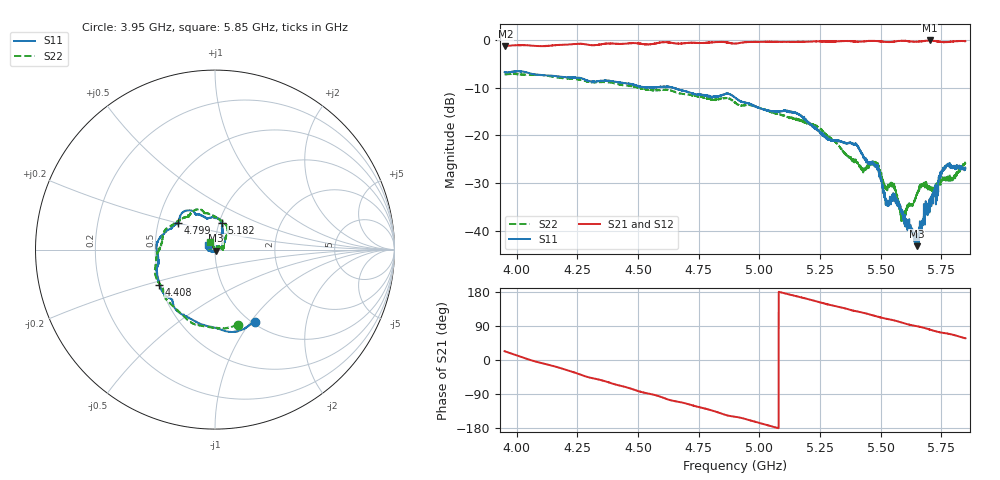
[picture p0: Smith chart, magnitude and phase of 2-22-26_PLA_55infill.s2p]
# GHZ S RI R 50.000000000000
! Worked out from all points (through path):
!   4501 points, 3.95 GHz to 5.85 GHz, reference 50 ohm
!   highest |S21| = -0.06 dB at 5.703 GHz (marker M1); lowest = -1.3 dB at 3.953 GHz (marker M2)
!   lowest |S11| = -43.2 dB at 5.65 GHz (marker M3), VSWR 1.01, Z = 50.3 - j0.606 ohm
!   |S11| at or under -10 dB: 4.643662 GHz to 4.644251 GHz (588.7 kHz wide, 0.0127 % of centre); 4.644876 GHz to 4.647052 GHz (2.177 MHz wide, 0.0468 % of centre); 4.648 GHz to end of sweep
!   |S22| runs from -38.3 to -7.1 dB; largest |S21 - S12| = 0.045
!   S11 on the Smith chart (normalised r, x): 3.95 GHz: 1.02, -1.05; 4.408 GHz: 0.49, -0.22; 4.799 GHz: 0.63, +0.20; 5.182 GHz: 1.03, +0.32; 5.85 GHz: 0.93, +0.04
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3.95  0.2207 -0.4051  0.7947 0.3408  0.786 0.3385  0.127 -0.4217
3.952956  0.2107 -0.4078  0.7965 0.3302  0.7865 0.3337  0.1167 -0.4218
4.053867  0.0386 -0.448  0.8798 0.00643  0.8879 0.0203  -0.0436 -0.4298
4.267089  -0.2197 -0.3317  0.7073 -0.5822  0.721 -0.5727  -0.2765 -0.2663
4.407689  -0.3106 -0.1954  0.3928 -0.8318  0.4079 -0.8165  -0.335 -0.1054
4.583756  -0.3218 -0.0184  -0.0823 -0.9344  -0.0594 -0.928  -0.2927 0.061
4.798667  -0.2076 0.1484  -0.6348 -0.702  -0.6191 -0.711  -0.1567 0.1825
4.9  -0.1263 0.2157  -0.7965 -0.4646  -0.7958 -0.471  -0.0644 0.2119
5.033422  -0.0502 0.1762  -0.9541 -0.1372  -0.9471 -0.1573  0.00167 0.1823
5.182467  0.0378 0.1494  -0.9214 0.2724  -0.9243 0.2525  0.0716 0.1211
5.217089  0.0398 0.1201  -0.8983 0.3642  -0.9027 0.3463  0.0719 0.1108
5.402867  0.0558 0.0564  -0.5962 0.7563  -0.6134 0.7427  0.0498 0.0169
5.486044  0.0426 0.0187  -0.4084 0.8875  -0.4344 0.8808  0.0475 0.00666
5.516867  0.0217 0.013  -0.3229 0.9043  -0.3465 0.9022  0.0273 0.0105
5.533756  0.0115 0.0155  -0.2882 0.9098  -0.3076 0.9084  0.0225 0.0197
5.557822  0.0152 0.0176  -0.241 0.9375  -0.2584 0.929  0.0222 0.019
5.589911  0.0123 0.0094  -0.1425 0.9731  -0.1735 0.9597  0.00254 0.0132
5.649867  0.00338 -0.00602  0.0155 0.9619  -0.0175 0.9666  -0.0217 0.00947
5.671822  -0.00753 -0.0103  0.0655 0.9717  0.0379 0.9712  -0.0286 0.0115
5.702644  -0.0202 -0.00607  0.1634 0.9797  0.1373 0.9767  -0.0258 0.0102
5.766822  -0.0461 0.0127  0.3158 0.9005  0.2883 0.8994  -0.0298 0.0204
5.85  -0.038 0.0242  0.527 0.8231  0.5081 0.8387  -0.0287 0.0432
